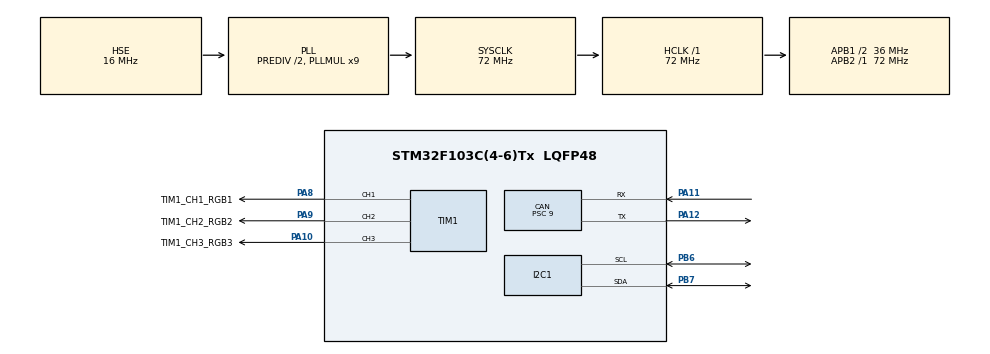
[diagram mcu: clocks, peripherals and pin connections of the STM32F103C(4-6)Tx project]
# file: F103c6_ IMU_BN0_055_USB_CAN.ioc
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CAN.BS1=CAN_BS1_2TQ
CAN.CalculateBaudRate=1000000
CAN.CalculateTimeBit=1000
CAN.CalculateTimeQuantum=250.0
CAN.Prescaler=9
I2C1.I2C_Mode=I2C_Fast
Mcu.Family=STM32F1
Mcu.Name=STM32F103C(4-6)Tx
Mcu.Package=LQFP48
NVIC.CAN1_RX1_IRQn=true\:0\:0\:false\:false\:true\:true\:true\:true
NVIC.PriorityGroup=NVIC_PRIORITYGROUP_4
NVIC.TIM2_IRQn=true\:0\:0\:false\:false\:true\:true\:true\:true
PA10.GPIO_Label=TIM1_CH3_RGB3
PA10.Signal=S_TIM1_CH3
PA11.Mode=CAN_Activate
PA11.Signal=CAN_RX
PA12.Mode=CAN_Activate
PA12.Signal=CAN_TX
PA13.Mode=Serial_Wire
PA13.Signal=SYS_JTMS-SWDIO
PA14.Mode=Serial_Wire
PA14.Signal=SYS_JTCK-SWCLK
PA8.GPIO_Label=TIM1_CH1_RGB1
PA8.Signal=S_TIM1_CH1
PA9.GPIO_Label=TIM1_CH2_RGB2
PA9.Signal=S_TIM1_CH2
PB6.Mode=I2C
PB6.Signal=I2C1_SCL
PB7.Mode=I2C
PB7.Signal=I2C1_SDA
PD0-OSC_IN.Mode=HSE-External-Oscillator
PD0-OSC_IN.Signal=RCC_OSC_IN
PD1-OSC_OUT.Mode=HSE-External-Oscillator
PD1-OSC_OUT.Signal=RCC_OSC_OUT
ProjectManager.HeapSize=0x200
ProjectManager.StackSize=0x400
ProjectManager.TargetToolchain=STM32CubeIDE
RCC.AHBFreq_Value=72000000
RCC.APB1CLKDivider=RCC_HCLK_DIV2
RCC.APB1Freq_Value=36000000
RCC.APB1TimFreq_Value=72000000
RCC.APB2Freq_Value=72000000
RCC.APB2TimFreq_Value=72000000
RCC.HCLKFreq_Value=72000000
RCC.HSEDivPLL=RCC_HSE_PREDIV_DIV2
RCC.HSE_VALUE=16000000
RCC.PLLMUL=RCC_PLL_MUL9
RCC.PLLSourceVirtual=RCC_PLLSOURCE_HSE
RCC.SYSCLKFreq_VALUE=72000000
RCC.SYSCLKSource=RCC_SYSCLKSOURCE_PLLCLK
RCC.USBFreq_Value=72000000
SH.S_TIM1_CH1.0=TIM1_CH1,PWM Generation1 CH1
SH.S_TIM1_CH2.0=TIM1_CH2,PWM Generation2 CH2
SH.S_TIM1_CH3.0=TIM1_CH3,PWM Generation3 CH3
TIM1.AutoReloadPreload=TIM_AUTORELOAD_PRELOAD_ENABLE
TIM1.Channel-PWM\ Generation1\ CH1=TIM_CHANNEL_1
TIM1.Channel-PWM\ Generation2\ CH2=TIM_CHANNEL_2
TIM1.Channel-PWM\ Generation3\ CH3=TIM_CHANNEL_3
TIM2.Period=999
TIM2.Prescaler=71
VP_TIM2_VS_ClockSourceINT.Mode=Internal
board=custom

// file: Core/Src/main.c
/* USER CODE BEGIN Header */
/**
  ******************************************************************************
  * @file           : main.c
  * @brief          : Main program body
  ******************************************************************************
  * @attention
  *
  * Copyright (c) 2023 STMicroelectronics.
  * All rights reserved.
  *
  * This software is licensed under terms that can be found in the LICENSE file
  * in the root directory of this software component.
  * If no LICENSE file comes with this software, it is provided AS-IS.
  *
  ******************************************************************************
  */
/* USER CODE END Header */
#include "main.h"
#include "can.h"
#include "i2c.h"
#include "tim.h"
#include "gpio.h"

/* USER CODE BEGIN Includes */

#include "bno055_stm32.h"
#include "bno055.h"

/* USER CODE END Includes */

/* USER CODE BEGIN PTD */

	/* IMU BNO 055 */

		/* EULER */

			bno055_vector_t E;

		/* QUATERNION */

			bno055_vector_t Q;

		/* ACCELEROMETER */

			bno055_vector_t A;

		/* MAGNETORMETER */

			bno055_vector_t M;

		/* CALIBRATION STATE */

			bno055_vector_t C;

		 /* GRAVITY */

			bno055_vector_t Gra;

		 /* GYROSCOPE */

			bno055_vector_t Gyr;

/* USER CODE END PTD */

/* USER CODE BEGIN PV */

			/* CAN */

				CAN_RxHeaderTypeDef RxHeader;
				uint8_t RxData[8];
				CAN_TxHeaderTypeDef TxHeader;
				uint8_t TxData[8];
				uint32_t TxMailbox;
				uint16_t ReadValue;

				int datacheck = 0;
				float pwm_M1 = 0;
				float pwm_M2 = 0;

				float RxData1 = 0;
				float RxData2 = 0;
				float RxData3 = 0;
				float RxData4 = 0;

			/* TAGET SPEED OF RGB */

				float V1 = 0;
				float V2 = 0;
				float V3 = 0;
				float V4 = 0;

			/* TAGET SPEED OF MOTOR */

				float M1 ;
				float M2 ;
				float M3;
				float M4 ;

			/* V OUT RGB */

				uint16_t V=255;
				uint16_t V1_out = 0;
				uint16_t V2_out = 0;
				uint16_t V3_out = 0;
				uint16_t V4_out = 0;

			/* M OUT MOTOR */

				uint16_t M_1=255;
				uint16_t M1_out = 0;
				uint16_t M2_out = 0;
				uint16_t M3_out = 0;
				uint16_t M4_out = 0;

				uint8_t flag = 0;
				uint8_t cntt;

			/* EULER */

				uint16_t heading = 0;
				uint16_t pitch   = 0;
				uint16_t roll    = 0;
				uint16_t y =0;

			/* QUATERNION */

				uint16_t QuaX = 0;

/* USER CODE END PV */

void SystemClock_Config(void);
/* USER CODE BEGIN PFP */

/* MAP */

	float map(float Input, float Min_Input, float Max_Input, float Min_Output, float Max_Output) {
		return (float) ((Input - Min_Input) * (Max_Output - Min_Output) / (Max_Input - Min_Input) + Min_Output);
	}

/* STM32 INTERUPP RECEIVER FROM USB CAN */

	void HAL_CAN_RxFifo1MsgPendingCallback(CAN_HandleTypeDef *hcan) {
		HAL_CAN_GetRxMessage(hcan, CAN_RX_FIFO1, &RxHeader, RxData);
		cntt++;
		while (cntt - 100 > 0) {
			HAL_GPIO_TogglePin(GPIOC, GPIO_PIN_13);
			cntt = 0;
		}

	/* DATA RECIEVER FROM USB CAN */

		if (RxHeader.DLC == 8) {
		RxData1 = (RxData[0] << 8) | RxData[1];
		RxData2 = (RxData[2] << 8) | RxData[3];
		RxData3 = (RxData[4] << 8) | RxData[5];
		RxData4 = (RxData[6] << 8) | RxData[7];

	/* TRANFER TO SPEED */

		/* V RGB */

			V1 = RxData1;
			V2 = RxData2;
			V3 = RxData3;
			V4 = RxData4;

		/* M MOTOR */

			M1 = RxData1;
			M2 = RxData2;
			M3 = RxData3;
			M4 = RxData4;

			/* MAP TX DATA FROM 8BIT TO 16BIT (MOTOR ) */

				/* MAPPING MOTOR */

					M1_out = map(M1,0,65535,0,999);
					M2_out = map(M2,0,65535,0,999);

				/* MAPPING RGB ) */

					M3_out = map(M3,0,65535,0,65535);
					M4_out = map(M4,0,65535,0,65535);

					flag = 1;

	}
}

/* USER CODE END PFP */

int main(void)
{

  /* MCU Configuration--------------------------------------------------------*/

  /* Reset of all peripherals, Initializes the Flash interface and the Systick. */
  HAL_Init();

  /* Configure the system clock */
  SystemClock_Config();

  /* Initialize all configured peripherals */
  MX_GPIO_Init();
  MX_CAN_Init();
  MX_I2C1_Init();
  MX_TIM1_Init();
  MX_TIM2_Init();
  /* USER CODE BEGIN 2 */

  /* IMU BNO 055 */

	  bno055_assignI2C(&hi2c1);
	  bno055_setup();
	  bno055_setOperationModeNDOF();

  	/* CAN */

		HAL_CAN_Start(&hcan);

	/* STRUCTUR TRANSMITTER DATA */

		HAL_CAN_ActivateNotification(&hcan, CAN_IT_RX_FIFO1_MSG_PENDING);
		TxHeader.DLC = 8;
		TxHeader.IDE = CAN_ID_STD;
		TxHeader.RTR = CAN_RTR_DATA;
		TxHeader.StdId = 0x103; //0b11001010001

	/* TIMER RGB */

		HAL_TIM_Base_Start_IT(&htim2);

		HAL_TIM_PWM_Start(&htim1, TIM_CHANNEL_1);
		HAL_TIM_PWM_Start(&htim1, TIM_CHANNEL_2);
		HAL_TIM_PWM_Start(&htim1, TIM_CHANNEL_3);

		HAL_TIM_Encoder_Start(&htim1, TIM_CHANNEL_ALL);

	/* TIMER 3 MOTOR */

		HAL_TIM_PWM_Start(&htim2, TIM_CHANNEL_1);
		HAL_TIM_PWM_Start(&htim2, TIM_CHANNEL_2);
		HAL_TIM_PWM_Start(&htim2, TIM_CHANNEL_3);
		HAL_TIM_PWM_Start(&htim2, TIM_CHANNEL_4);

	/* MAP TX DATA FROM 8BIT TO 16BIT (RGB) */

		V1_out = map(V,0,255,0,65535);
		V2_out = map(V,0,255,0,65535);
		V3_out = map(V,0,255,0,65535);
		V4_out = map(V,0,255,0,65535);

  /* USER CODE END 2 */

  /* Infinite loop */
  while (1)
  {

  }
}

void SystemClock_Config(void)
{
  RCC_OscInitTypeDef RCC_OscInitStruct = {0};
  RCC_ClkInitTypeDef RCC_ClkInitStruct = {0};

  /** Initializes the RCC Oscillators according to the specified parameters
  * in the RCC_OscInitTypeDef structure.
  */
  RCC_OscInitStruct.OscillatorType = RCC_OSCILLATORTYPE_HSE;
  RCC_OscInitStruct.HSEState = RCC_HSE_ON;
  RCC_OscInitStruct.HSEPredivValue = RCC_HSE_PREDIV_DIV2;
  RCC_OscInitStruct.HSIState = RCC_HSI_ON;
  RCC_OscInitStruct.PLL.PLLState = RCC_PLL_ON;
  RCC_OscInitStruct.PLL.PLLSource = RCC_PLLSOURCE_HSE;
  RCC_OscInitStruct.PLL.PLLMUL = RCC_PLL_MUL9;
  if (HAL_RCC_OscConfig(&RCC_OscInitStruct) != HAL_OK)
  {
    Error_Handler();
  }

  /** Initializes the CPU, AHB and APB buses clocks
  */
  RCC_ClkInitStruct.ClockType = RCC_CLOCKTYPE_HCLK|RCC_CLOCKTYPE_SYSCLK
                              |RCC_CLOCKTYPE_PCLK1|RCC_CLOCKTYPE_PCLK2;
  RCC_ClkInitStruct.SYSCLKSource = RCC_SYSCLKSOURCE_PLLCLK;
  RCC_ClkInitStruct.AHBCLKDivider = RCC_SYSCLK_DIV1;
  RCC_ClkInitStruct.APB1CLKDivider = RCC_HCLK_DIV2;
  RCC_ClkInitStruct.APB2CLKDivider = RCC_HCLK_DIV1;

  if (HAL_RCC_ClockConfig(&RCC_ClkInitStruct, FLASH_LATENCY_2) != HAL_OK)
  {
    Error_Handler();
  }
}

/* USER CODE BEGIN 4 */

/* MAKER TIMER INTERRUPP 1mS */

	void HAL_TIM_PeriodElapsedCallback(TIM_HandleTypeDef *htim) {
		if (htim->Instance == TIM2) {

			TIM3->CCR1 = M1_out; // PWM MOTOR
			TIM3->CCR2 = M2_out; // PWM MOTOR
			TIM1->CCR2 = M3_out; // PWM BLINK LED
			TIM1->CCR3 = M4_out; // PWM BLINK LED

		/* TX DATA SEND TO PC MAP 16BIT TO 8BIT COZ DATA CAN 1DATA=8BIT */

			/* EULER */

			 	 E	  = bno055_getVectorEuler();

			 /* QUATERNION */

			 	 Q    = bno055_getVectorQuaternion();

			 /* MAP HEADING (Y) QUATERNION */

				 if (E.y>0)
				 {
					 y = E.y;
				 }
				 else if (E.y<0)
				 {
					 y = 360-(-1*E.y);
				 }

			 /* EULER */

				heading = map (E.x, 0, 360, 0, 65535);
				pitch   = map (E.y, 0, 360, 0, 65535);
				roll    = map (E.z, 0, 360, 0, 65535);

			/* QUATERNION */

				QuaX    = map (Q.x, 0, 360, 0, 65535);

			/* TxData SEND IMU EULER QUATERNION */

				TxData[0] = ((heading  & 0xFF00) >> 8);
				TxData[1] = (heading   & 0x00FF);
				TxData[2] = ((pitch    & 0xFF00) >> 8);
				TxData[3] = (pitch     & 0x00FF);
				TxData[4] = ((roll     & 0xFF00) >> 8);
				TxData[5] = (roll      & 0x00FF);
				TxData[6] = ((-20     & 0xFF00) >> 8);
				TxData[7] = (-20      & 0x00FF);

			if (flag ==1) {
				HAL_CAN_AddTxMessage(&hcan, &TxHeader, TxData, &TxMailbox);

			}
		}

	}

/* USER CODE END 4 */

void Error_Handler(void)
{
  __disable_irq();
  while (1)
  {
  }
}
